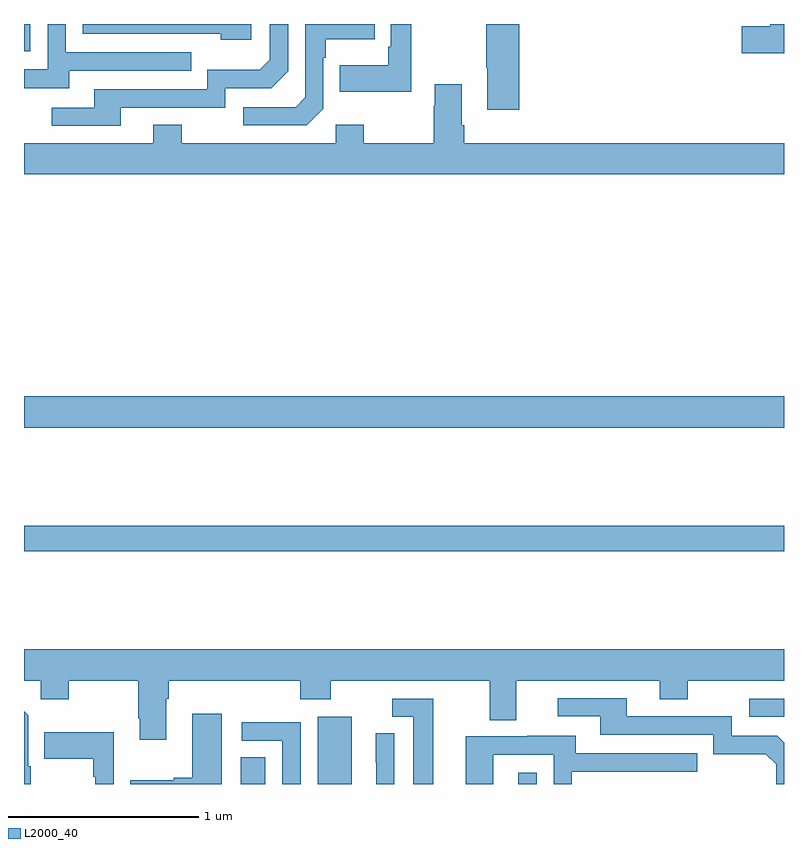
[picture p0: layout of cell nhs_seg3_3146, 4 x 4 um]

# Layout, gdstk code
import gdstk
lib = gdstk.Library(unit=1e-6, precision=1e-09)
def R(c, l, rs):  # rectangles x0, y0, x1, y1
    for r in rs: c.add(gdstk.rectangle(r[:2], r[2:], *l))
def P(c, l, *ps):  # polygons
    for p in ps: c.add(gdstk.Polygon(p, *l))
L2000_40 = (2000, 40)

nhs_seg3_3146 = lib.new_cell('nhs_seg3_3146')
R(nhs_seg3_3146, L2000_40, [(276.14,672.4,276.271,672.542), (276.545,672.4,276.724,672.754), (277.601,672.4,277.698,672.46), (278.817,672.753,279,672.849), (275,673.624,279,673.76), (275,674.276,279,674.44), (275,676.257,275.034,676.4)])
P(nhs_seg3_3146, L2000_40, [(277.607,676.4),(277.432,676.4),(277.432,676.171),(277.439,676.171),(277.439,675.948),(277.607,675.948)],
  [(276.576,675.954),(276.576,676.223),(276.589,676.223),(276.589,676.319),(276.845,676.319),(276.845,676.4),(276.48,676.4),(276.48,676.014),(276.429,675.963),(276.153,675.963),(276.153,675.867),(276.489,675.867)],
  [(276.196,676.4),(275.31,676.4),(275.31,676.35),(276.035,676.35),(276.035,676.316),(276.196,676.316)],
  [(275.509,675.96),(276.06,675.96),(276.06,676.062),(276.3,676.062),(276.39,676.152),(276.39,676.4),(276.294,676.4),(276.294,676.212),(276.241,676.159),(275.964,676.159),(275.964,676.056),(275.369,676.056),(275.369,675.96),(275.145,675.96),(275.145,675.864),(275.509,675.864)],
  [(279,676.4),(278.927,676.4),(278.927,676.388),(278.778,676.388),(278.778,676.246),(279,676.246)],
  [(277.039,676.4),(276.93,676.4),(276.93,676.279),(276.918,676.279),(276.918,676.183),(276.661,676.183),(276.661,676.043),(277.039,676.043)],
  [(275.239,676.155),(275.879,676.155),(275.879,676.251),(275.22,676.251),(275.22,676.4),(275.124,676.4),(275.124,676.161),(275,676.161),(275,676.061),(275.239,676.061)],
  [(279,675.772),(277.316,675.772),(277.316,675.868),(277.303,675.868),(277.303,676.084),(277.163,676.084),(277.163,675.971),(277.156,675.971),(277.156,675.772),(276.789,675.772),(276.789,675.871),(276.642,675.871),(276.642,675.772),(275.829,675.772),(275.829,675.871),(275.681,675.871),(275.681,675.772),(275,675.772),(275,675.608),(279,675.608)],
  [(275.749,672.848),(275.762,672.848),(275.762,672.944),(276.455,672.944),(276.455,672.845),(276.615,672.845),(276.615,672.944),(277.451,672.944),(277.451,672.736),(277.591,672.736),(277.591,672.944),(278.345,672.944),(278.345,672.845),(278.493,672.845),(278.493,672.944),(279,672.944),(279,673.108),(275,673.108),(275,672.944),(275.088,672.944),(275.088,672.845),(275.235,672.845),(275.235,672.944),(275.602,672.944),(275.602,672.745),(275.609,672.745),(275.609,672.633),(275.749,672.633)],
  [(279,672.618),(278.964,672.654),(278.724,672.654),(278.724,672.756),(278.173,672.756),(278.173,672.852),(277.809,672.852),(277.809,672.756),(278.033,672.756),(278.033,672.66),(278.628,672.66),(278.628,672.557),(278.905,672.557),(278.958,672.504),(278.958,672.4),(279,672.4)],
  [(277.153,672.849),(276.939,672.849),(276.939,672.753),(277.049,672.753),(277.049,672.4),(277.153,672.4)],
  [(275.035,672.493),(275.022,672.493),(275.022,672.762),(275,672.784),(275,672.4),(275.035,672.4)],
  [(276.04,672.769),(275.885,672.769),(275.885,672.434),(275.789,672.434),(275.789,672.421),(275.559,672.421),(275.559,672.4),(276.04,672.4)],
  [(276.456,672.726),(276.147,672.726),(276.147,672.627),(276.36,672.627),(276.36,672.4),(276.456,672.4)],
  [(275.472,672.673),(275.107,672.673),(275.107,672.533),(275.364,672.533),(275.364,672.437),(275.376,672.437),(275.376,672.4),(275.472,672.4)],
  [(276.948,672.668),(276.852,672.668),(276.852,672.514),(276.854,672.514),(276.854,672.4),(276.948,672.4)],
  [(277.47,672.555),(277.788,672.555),(277.788,672.4),(277.884,672.4),(277.884,672.465),(278.543,672.465),(278.543,672.561),(277.903,672.561),(277.903,672.655),(277.649,672.655),(277.649,672.651),(277.325,672.651),(277.325,672.4),(277.47,672.4)])

lib.write_gds('nhs_seg3_3146.gds')
